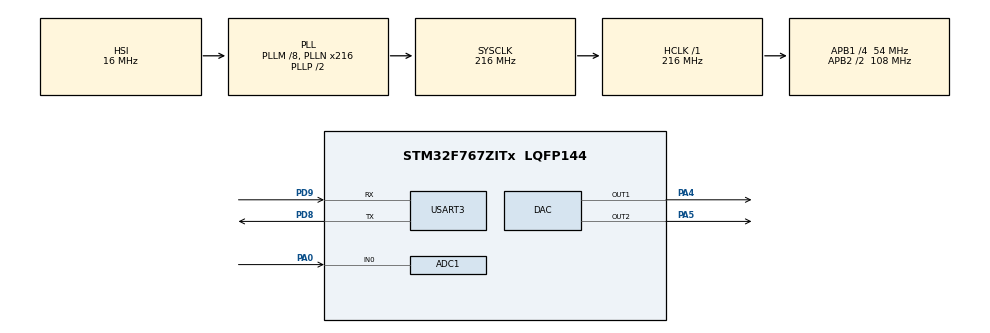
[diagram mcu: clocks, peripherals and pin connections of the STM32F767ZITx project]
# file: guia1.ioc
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Mcu.Family=STM32F7
NVIC.USART3_IRQn=true\:0\:0\:false\:false\:true\:true\:true
Dma.DAC2.0.MemDataAlignment=DMA_MDATAALIGN_WORD
RCC.CortexFreq_Value=216000000
ADC1.ContinuousConvMode=DISABLE
PA14.GPIO_Label=TCK
RCC.SYSCLKSourceVirtual=RCC_SYSCLKSOURCE_PLLCLK
PA0/WKUP.Signal=ADCx_IN0
PD9.Mode=Asynchronous
RCC.SYSCLKSource=RCC_SYSCLKSOURCE_PLLCLK
ProjectManager.StackSize=0x400
SH.COMP_DAC2_group.0=DAC_OUT2,DAC_OUT2
Dma.DAC2.0.PeriphInc=DMA_PINC_DISABLE
USART3.VirtualMode-Asynchronous=VM_ASYNC
NVIC.ADC_IRQn=true\:0\:0\:false\:false\:true\:true\:true
Dma.DAC2.0.Priority=DMA_PRIORITY_VERY_HIGH
RCC.HCLKFreq_Value=216000000
RCC.APB2TimFreq_Value=216000000
PD8.Signal=USART3_TX
Dma.DAC2.0.Direction=DMA_MEMORY_TO_PERIPH
RCC.AHBFreq_Value=216000000
RCC.HSE_VALUE=16000000
RCC.PLLMUL=RCC_PLL_MUL9
DAC.DAC_Trigger2=DAC_TRIGGER_T2_TRGO
PA14.Mode=Serial_Wire
NVIC.TIM2_IRQn=true\:0\:0\:false\:false\:true\:true\:true
SH.ADCx_IN0.0=ADC1_IN0,IN0
Dma.DAC2.0.MemInc=DMA_MINC_ENABLE
Mcu.Package=LQFP144
TIM2.Prescaler=1-1
TIM2.TIM_MasterOutputTrigger=TIM_TRGO_UPDATE
RCC.APB2CLKDivider=RCC_HCLK_DIV2
RCC.APB1TimFreq_Value=108000000
NVIC.DMA1_Stream6_IRQn=true\:0\:0\:false\:false\:true\:false\:true
Dma.Request0=DAC2
ADC1.EOCSelection=ADC_EOC_SEQ_CONV
SH.COMP_DAC1_group.0=DAC_OUT1,DAC_OUT1
TIM6.Prescaler=0
VP_TIM6_VS_ClockSourceINT.Mode=Enable_Timer
PD9.Signal=USART3_RX
RCC.APB1CLKDivider=RCC_HCLK_DIV4
PA13.Signal=SYS_JTMS-SWDIO
TIM6.AutoReloadPreload=TIM_AUTORELOAD_PRELOAD_DISABLE
ProjectManager.TargetToolchain=STM32CubeIDE
ADC1.Channel-1\#ChannelRegularConversion=ADC_CHANNEL_0
RCC.USBFreq_Value=216000000
RCC.LSE_VALUE=32768
PD8.Mode=Asynchronous
PA5.Signal=COMP_DAC2_group
board=NUCLEO-F767ZI
RCC.VCOOutputFreq_Value=432000000
RCC.APB2Freq_Value=108000000
RCC.PRESCALERUSB=RCC_USBCLKSOURCE_PLL_DIV1_5
VP_TIM2_VS_ClockSourceINT.Mode=Internal
TIM6.TIM_MasterOutputTrigger=TIM_TRGO_UPDATE
Dma.DAC2.0.Instance=DMA1_Stream6
Dma.DAC2.0.PeriphDataAlignment=DMA_PDATAALIGN_WORD
TIM2.Period=36000-1
PA13.Mode=Serial_Wire
Mcu.Name=STM32F767ZITx
PA13.GPIO_Label=TMS
ADC1.ExternalTrigConv=ADC_EXTERNALTRIGCONV_T6_TRGO
RCC.48MHZClocksFreq_Value=24000000
PA4.Signal=COMP_DAC1_group
ADC1.SamplingTime-1\#ChannelRegularConversion=ADC_SAMPLETIME_3CYCLES
RCC.SYSCLKFreq_VALUE=216000000
ADC1.master=1
Dma.DAC2.0.FIFOMode=DMA_FIFOMODE_DISABLE
Dma.DAC2.0.Mode=DMA_CIRCULAR
ADC1.Rank-1\#ChannelRegularConversion=1
PA14.Signal=SYS_JTCK-SWCLK
ProjectManager.HeapSize=0x200
RCC.HSI_VALUE=16000000
NVIC.PriorityGroup=NVIC_PRIORITYGROUP_4
ADC1.NbrOfConversionFlag=1
RCC.PLLM=8
RCC.PLLN=216
RCC.APB1Freq_Value=54000000

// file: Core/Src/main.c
/* USER CODE BEGIN Header */
/**
  ******************************************************************************
  * @file           : main.c
  * @brief          : Main program body
  ******************************************************************************
  * @attention
  *
  * <h2><center>&copy; Copyright (c) 2021 STMicroelectronics.
  * All rights reserved.</center></h2>
  *
  * This software component is licensed by ST under BSD 3-Clause license,
  * the "License"; You may not use this file except in compliance with the
  * License. You may obtain a copy of the License at:
  *                        opensource.org/licenses/BSD-3-Clause
  *
  ******************************************************************************
  */
/* USER CODE END Header */
#include "main.h"
#include "adc.h"
#include "dac.h"
#include "dma.h"
#include "tim.h"
#include "usart.h"
#include "gpio.h"

/* USER CODE BEGIN Includes */
#include <string.h>
#include "commands.h"
/* USER CODE END Includes */

/* USER CODE BEGIN PV */
char last_valid_cmd[RX_BUFF_LEN] = {0};

/* USER CODE END PV */

void SystemClock_Config(void);

int main(void)
{
  /* USER CODE BEGIN 1 */
	char c;
  /* USER CODE END 1 */

  /* MCU Configuration--------------------------------------------------------*/

  /* Reset of all peripherals, Initializes the Flash interface and the Systick. */
  HAL_Init();

  /* Configure the system clock */
  SystemClock_Config();

  /* Initialize all configured peripherals */
  MX_GPIO_Init();
  MX_DMA_Init();
  MX_USART3_UART_Init();
  MX_ADC1_Init();
  MX_DAC_Init();
  MX_TIM2_Init();
  MX_TIM6_Init();

  /* Infinite loop */
  /* USER CODE BEGIN WHILE */

	UART_putchar('>'); // print prompt
	Rx_UART_init(); // set USART3 interrupt

	while (1)
  {
		if(Rx_flag)
		{
			c = UART_Receive(); // Returns received char
			if(c != (char)(-1))
				// Its not a special character
				UART_putchar(c); // Received char is echoed

			Rx_flag = 0;
		}

		if(cmd_received)
		{
			if(exec_cmd(Rx_Buffer) == 0)// Is there an error?
				// No error. Command is valid
				strcpy(last_valid_cmd, Rx_Buffer); // Save this as last valid command

			UART_putchar('>');// print prompt
			cmd_received = 0;
			Rx_UART_init(); // ready to begin reception
		}

    /* USER CODE END WHILE */

  }
}

void SystemClock_Config(void)
{
  RCC_OscInitTypeDef RCC_OscInitStruct = {0};
  RCC_ClkInitTypeDef RCC_ClkInitStruct = {0};
  RCC_PeriphCLKInitTypeDef PeriphClkInitStruct = {0};

  /** Configure the main internal regulator output voltage
  */
  __HAL_RCC_PWR_CLK_ENABLE();
  __HAL_PWR_VOLTAGESCALING_CONFIG(PWR_REGULATOR_VOLTAGE_SCALE1);
  /** Initializes the RCC Oscillators according to the specified parameters
  * in the RCC_OscInitTypeDef structure.
  */
  RCC_OscInitStruct.OscillatorType = RCC_OSCILLATORTYPE_HSI;
  RCC_OscInitStruct.HSIState = RCC_HSI_ON;
  RCC_OscInitStruct.HSICalibrationValue = RCC_HSICALIBRATION_DEFAULT;
  RCC_OscInitStruct.PLL.PLLState = RCC_PLL_ON;
  RCC_OscInitStruct.PLL.PLLSource = RCC_PLLSOURCE_HSI;
  RCC_OscInitStruct.PLL.PLLM = 8;
  RCC_OscInitStruct.PLL.PLLN = 216;
  RCC_OscInitStruct.PLL.PLLP = RCC_PLLP_DIV2;
  RCC_OscInitStruct.PLL.PLLQ = 2;
  if (HAL_RCC_OscConfig(&RCC_OscInitStruct) != HAL_OK)
  {
    Error_Handler();
  }
  /** Activate the Over-Drive mode
  */
  if (HAL_PWREx_EnableOverDrive() != HAL_OK)
  {
    Error_Handler();
  }
  /** Initializes the CPU, AHB and APB buses clocks
  */
  RCC_ClkInitStruct.ClockType = RCC_CLOCKTYPE_HCLK|RCC_CLOCKTYPE_SYSCLK
                              |RCC_CLOCKTYPE_PCLK1|RCC_CLOCKTYPE_PCLK2;
  RCC_ClkInitStruct.SYSCLKSource = RCC_SYSCLKSOURCE_PLLCLK;
  RCC_ClkInitStruct.AHBCLKDivider = RCC_SYSCLK_DIV1;
  RCC_ClkInitStruct.APB1CLKDivider = RCC_HCLK_DIV4;
  RCC_ClkInitStruct.APB2CLKDivider = RCC_HCLK_DIV2;

  if (HAL_RCC_ClockConfig(&RCC_ClkInitStruct, FLASH_LATENCY_7) != HAL_OK)
  {
    Error_Handler();
  }
  PeriphClkInitStruct.PeriphClockSelection = RCC_PERIPHCLK_USART3;
  PeriphClkInitStruct.Usart3ClockSelection = RCC_USART3CLKSOURCE_PCLK1;
  if (HAL_RCCEx_PeriphCLKConfig(&PeriphClkInitStruct) != HAL_OK)
  {
    Error_Handler();
  }
}

void Error_Handler(void)
{
  __disable_irq();
  while (1)
  {
  }
}

/************************ (C) COPYRIGHT STMicroelectronics *****END OF FILE****/
